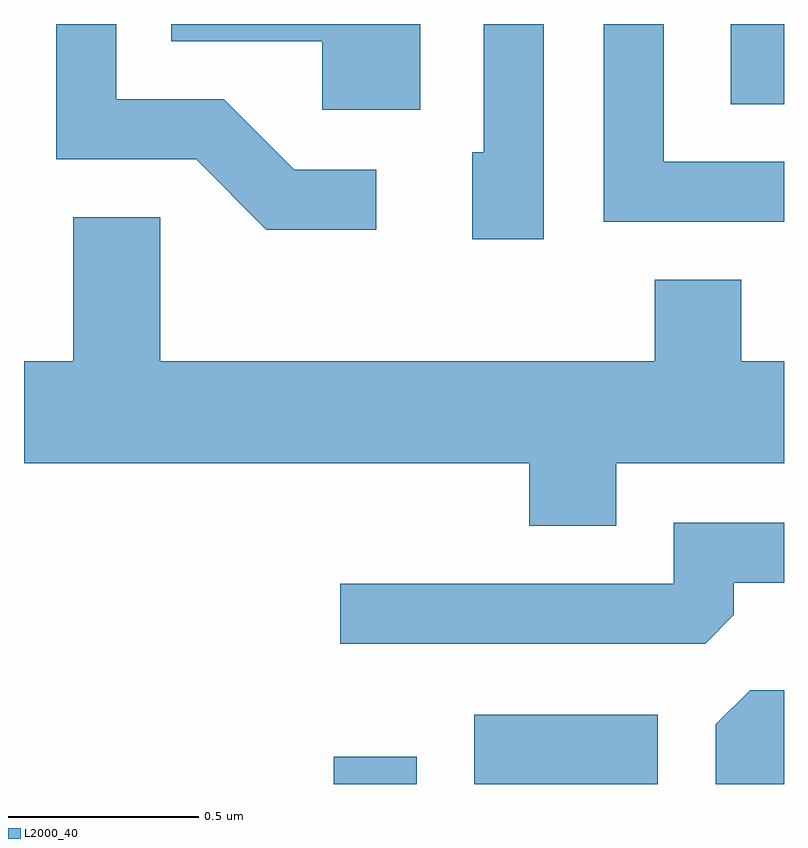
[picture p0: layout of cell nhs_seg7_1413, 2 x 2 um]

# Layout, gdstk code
import gdstk
lib = gdstk.Library(unit=1e-6, precision=1e-09)
def R(c, l, rs):  # rectangles x0, y0, x1, y1
    for r in rs: c.add(gdstk.rectangle(r[:2], r[2:], *l))
def P(c, l, *ps):  # polygons
    for p in ps: c.add(gdstk.Polygon(p, *l))
L2000_40 = (2000, 40)

nhs_seg7_1413 = lib.new_cell('nhs_seg7_1413')
R(nhs_seg7_1413, L2000_40, [(196.426,1711.252,196.644,1711.324), (196.796,1711.252,197.279,1711.434), (197.471,1713.041,197.611,1713.252)])
P(nhs_seg7_1413, L2000_40, [(196.979,1713.252),(196.821,1713.252),(196.821,1712.914),(196.791,1712.914),(196.791,1712.686),(196.979,1712.686)],
  [(196.538,1712.869),(196.322,1712.869),(196.137,1713.054),(195.854,1713.054),(195.854,1713.252),(195.696,1713.252),(195.696,1712.896),(196.064,1712.896),(196.249,1712.711),(196.538,1712.711)],
  [(197.611,1712.889),(197.294,1712.889),(197.294,1713.252),(197.136,1713.252),(197.136,1712.731),(197.611,1712.731)],
  [(196.654,1713.252),(195.998,1713.252),(195.998,1713.206),(196.396,1713.206),(196.396,1713.026),(196.654,1713.026)],
  [(197.169,1712.096),(197.611,1712.096),(197.611,1712.364),(197.499,1712.364),(197.499,1712.579),(197.271,1712.579),(197.271,1712.364),(195.969,1712.364),(195.969,1712.744),(195.741,1712.744),(195.741,1712.364),(195.611,1712.364),(195.611,1712.096),(196.941,1712.096),(196.941,1711.931),(197.169,1711.931)],
  [(197.479,1711.697),(197.479,1711.781),(197.611,1711.781),(197.611,1711.939),(197.321,1711.939),(197.321,1711.779),(196.443,1711.779),(196.443,1711.621),(197.404,1711.621)],
  [(197.611,1711.499),(197.522,1711.499),(197.431,1711.409),(197.431,1711.252),(197.611,1711.252)])

lib.write_gds('nhs_seg7_1413.gds')
